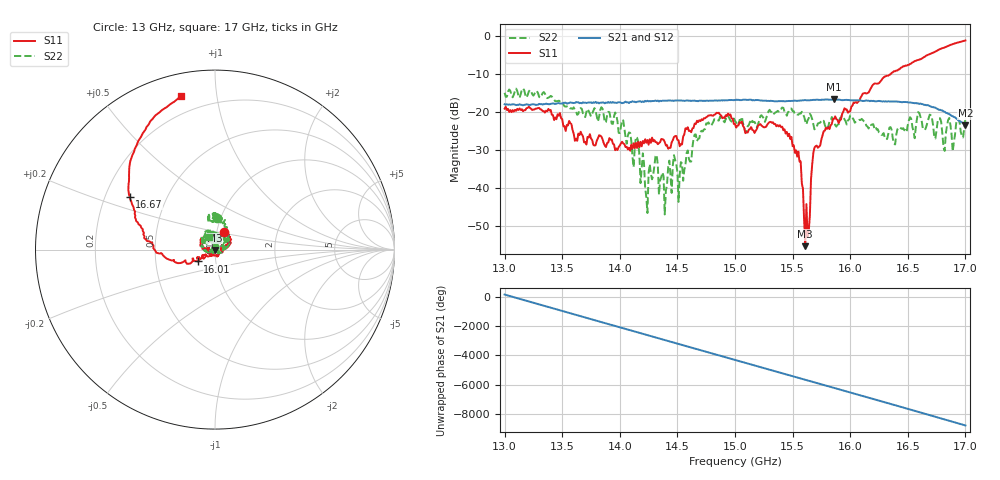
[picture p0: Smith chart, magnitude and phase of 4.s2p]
!Keysight Technologies,P9374A,MY57211807,A.19.30.04
!Date: Friday, May 01, 2026 14:07:17
!Correction: S11(C  2-Port  )
!S21(C  2-Port  )
!S12(C  2-Port  )
!S22(C  2-Port  )
!S2P File: Measurements: S11, S21, S12, S22:
# Hz S  RI  R 50
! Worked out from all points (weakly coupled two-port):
!   401 points, 13 GHz to 17 GHz, reference 50 ohm
!   highest |S21| = -16.69 dB at 15.86 GHz (marker M1); lowest = -23.5 dB at 17 GHz (marker M2)
!   lowest |S11| = -55.3 dB at 15.61 GHz (marker M3), VSWR 1.00, Z = 49.9 - j0.143 ohm
!   |S11| at or under -10 dB: start of sweep to 16.35 GHz
!   |S22| runs from -46.9 to -13.8 dB; largest |S21 - S12| = 0.0039
!   S11 on the Smith chart (normalised r, x): 13 GHz: 1.08, +0.22; 16.01 GHz: 0.82, -0.11; 16.67 GHz: 0.30, +0.26; 17 GHz: 0.11, +0.80
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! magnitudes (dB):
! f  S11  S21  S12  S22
! 13 GHz  -19.1  -18.0  -18.0  -15.0
! 13.67 GHz  -25.9  -17.7  -17.7  -19.1
! 14.03 GHz  -28.3  -17.6  -17.5  -22.2
! 14.15 GHz  -29.4  -17.3  -17.3  -26.8
! 14.23 GHz  -28.1  -17.2  -17.2  -42.3
! 14.31 GHz  -27.9  -17.0  -16.9  -31.7
! 14.34 GHz  -28.2  -17.2  -17.3  -41.7
! 14.53 GHz  -28.4  -17.0  -16.9  -33.2
! 14.75 GHz  -21.4  -17.0  -17.0  -23.0
! 15 GHz  -23.2  -16.8  -16.8  -22.3
! 15.47 GHz  -25.7  -17.1  -17.1  -19.9
! 15.55 GHz  -30.4  -17.0  -17.0  -20.7
! 15.61 GHz  -55.3  -16.9  -16.9  -22.4
! 15.63 GHz  -52.9  -16.9  -16.9  -22.2
! 15.67 GHz  -33.8  -16.8  -16.8  -21.9
! 15.7 GHz  -29.0  -16.8  -16.8  -24.0
! 15.86 GHz  -21.8  -16.7  -16.7  -22.5
! 16.01 GHz  -18.6  -16.9  -16.9  -20.9
! 16.34 GHz  -10.2  -17.2  -17.2  -24.1
! 16.67 GHz  -5.0  -18.2  -18.2  -22.8
! 16.82 GHz  -3.0  -19.9  -19.9  -30.2
! 17 GHz  -1.2  -23.5  -23.5  -21.9
